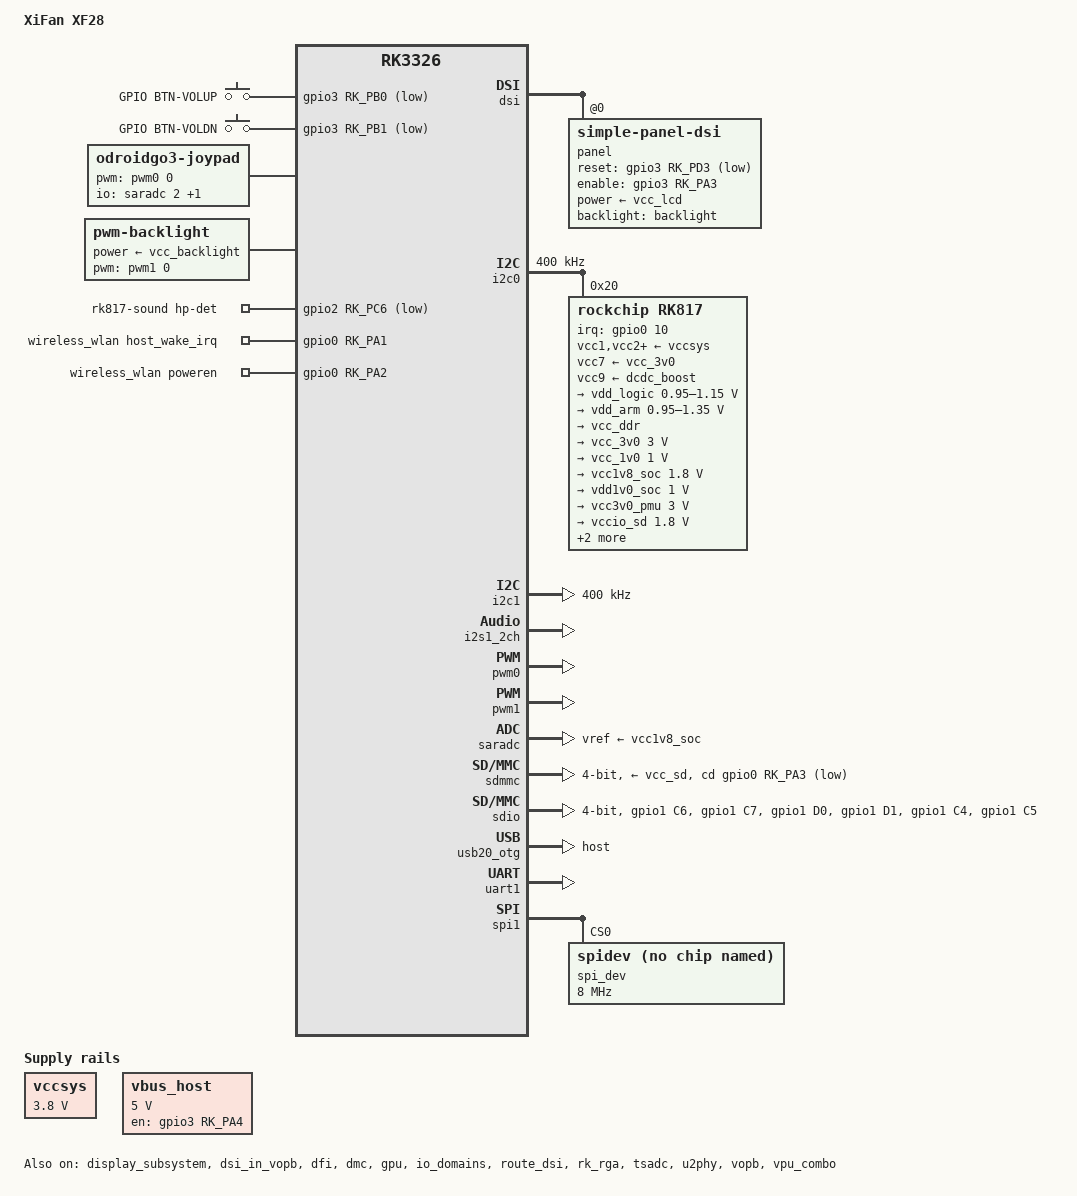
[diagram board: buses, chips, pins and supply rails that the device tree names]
// SPDX-License-Identifier: (GPL-2.0+ OR MIT)
/*
* Copyright (c) 2025 kk&lcdyk
*
* 稀范科技 XF28
*
*/

/dts-v1/;
#include <dt-bindings/display/drm_mipi_dsi.h>
#include <dt-bindings/gpio/gpio.h>
#include <dt-bindings/input/input.h>
#include <dt-bindings/pinctrl/rockchip.h>
#include <dt-bindings/sensor-dev.h>
#include "rk3326.dtsi"
#include "rk3326-linux.dtsi"

/ {
	model = "XiFan XF28";
	compatible = "rockchip,rk3326-xf28-linux", "rockchip,rk3326";
	
	chosen {
		bootargs = "";
	};
	
	gpio_keys: odroidgo3-keys {
		compatible = "gpio-keys";
		autorepeat;
		
		button_vol_up: button-vol-up {
			gpios = <&gpio3 RK_PB0 GPIO_ACTIVE_LOW>;
			label = "GPIO BTN-VOLUP";
			linux,code = <KEY_VOLUMEUP>;
		};
		
		button_vol_down: button-vol-down {
			gpios = <&gpio3 RK_PB1 GPIO_ACTIVE_LOW>;
			label = "GPIO BTN-VOLDN";
			linux,code = <KEY_VOLUMEDOWN>;
		};
	};
	
	joypad: odroidgo3-joypad {
		compatible = "odroidgo3-joypad";
		pwms = <&pwm0 0 200000000 0>;
		pwm-names = "enable";
		rumble-boost-weak = <0x0000>;
		rumble-boost-strong = <0x0000>;
		joypad-name = "GO-Super Gamepad";
		joypad-product = <0x1100>;
		joypad-revision = <0x0100>;
		go2-mode;
		status = "okay";
		/* gpio pincontrol setup */
		pinctrl-names = "default";
		pinctrl-0 = <&btn_pins>;
		pinctrl-1 = <&pwm0_pin>;
		/* JOY_X, JOY_Y Channel define */
		io-channel-names = "joy_y", "joy_x";
		io-channels = <&saradc 2>,<&saradc 1>;
		/* adc channel count */
		button-adc-count = <2>;
		/* adc calculate scale */
		button-adc-scale = <2>;
		
		/* adc deadzone range  */
		button-adc-deadzone = <20>;
		
		/*
		specifies fuzz value that is used to filter noise from
		the event stream.
		*/
		button-adc-fuzz = <32>;
		button-adc-flat = <32>;
		
		/* poll device interval (ms), adc read interval */
		poll-interval = <10>;
		invert-absx;
		invert-absy;
		sw1 {
			gpios = <&gpio3 RK_PC6 GPIO_ACTIVE_LOW>;
			label = "GPIO DPAD-UP";
			linux,code = <BTN_DPAD_UP>;
		};
		sw2 {
			gpios = <&gpio3 RK_PC7 GPIO_ACTIVE_LOW>;
			label = "GPIO DPAD-DOWN";
			linux,code = <BTN_DPAD_DOWN>;
		};
		sw3 {
			gpios = <&gpio3 RK_PC4 GPIO_ACTIVE_LOW>;
			label = "GPIO DPAD-LEFT";
			linux,code = <BTN_DPAD_LEFT>;
		};
		sw4 {
			gpios = <&gpio3 RK_PC5 GPIO_ACTIVE_LOW>;
			label = "GPIO DPAD-RIGHT";
			linux,code = <BTN_DPAD_RIGHT>;
		};
		sw5 {
			gpios = <&gpio3 RK_PC0 GPIO_ACTIVE_LOW>;
			label = "GPIO BTN-A";
			linux,code = <BTN_EAST>;
		};
		sw6 {
			gpios = <&gpio3 RK_PC1 GPIO_ACTIVE_LOW>;
			label = "GPIO BTN-B";
			linux,code = <BTN_SOUTH>;
		};
		sw7 {
			gpios = <&gpio3 RK_PC3 GPIO_ACTIVE_LOW>;
			label = "GPIO BTN-Y";
			linux,code = <BTN_WEST>;
		};
		sw8 {
			gpios = <&gpio3 RK_PC2 GPIO_ACTIVE_LOW>;
			label = "GPIO BTN-X";
			linux,code = <BTN_NORTH>;
		};
		sw11 {
			gpios = <&gpio2 RK_PB6 GPIO_ACTIVE_LOW>;//占位用
			label = "BTN_THUMBR";
			linux,code = <BTN_TRIGGER_HAPPY4>;
		};
		sw12 {
			gpios = <&gpio2 RK_PB5 GPIO_ACTIVE_LOW>;
			label = "BTN_THUMBL";
			linux,code = <BTN_TRIGGER_HAPPY3>;
		};
		sw13 {
			gpios = <&gpio3 RK_PD2 GPIO_ACTIVE_LOW>;
			label = "GPIO BTN_F";
			linux,code = <BTN_TRIGGER_HAPPY5>;
		};
		sw15 {
			gpios = <&gpio3 RK_PB5 GPIO_ACTIVE_LOW>;
			label = "GPIO BTN_TL";
			linux,code = <BTN_TL>;
		};
		sw16 {
			gpios = <&gpio3 RK_PB3 GPIO_ACTIVE_LOW>;
			label = "GPIO BTN_TR";
			linux,code = <BTN_TR>;
		};
		sw19 {
			gpios = <&gpio3 RK_PD0 GPIO_ACTIVE_LOW>;
			label = "BTN_SELECT";
			linux,code = <BTN_TRIGGER_HAPPY1>;
		};
		sw20 {
			gpios = <&gpio3 RK_PA0 GPIO_ACTIVE_LOW>;
			label = "GPIO BTN_TR2";
			linux,code = <BTN_TR2>;
		};
		sw21 {
			gpios = <&gpio3 RK_PA6 GPIO_ACTIVE_LOW>;
			label = "GPIO BTN_TL2";
			linux,code = <BTN_TL2>;
		};
		sw22 {
			gpios = <&gpio3 RK_PD1 GPIO_ACTIVE_LOW>;
			label = "BTN_START";
			linux,code = <BTN_TRIGGER_HAPPY2>;
		};
	};
	
	fiq-debugger {
		compatible = "rockchip,fiq-debugger";
		rockchip,serial-id = <5>;
		rockchip,wake-irq = <0>;
		/* If enable uart uses irq instead of fiq */
		rockchip,irq-mode-enable = <1>;
		rockchip,baudrate = <1500000>;  /* Only 115200 and 1500000 */
		interrupts = <GIC_SPI 127 IRQ_TYPE_LEVEL_LOW>;
		pinctrl-names = "default";
		pinctrl-0 = <&uart5_xfer>;
		status = "okay";
	};
	
	backlight: backlight {
		compatible = "pwm-backlight";
		power-supply = <&vcc_backlight>;
		pwms = <&pwm1 0 25000 0>;
		brightness-levels = <
		0   1   2   3   4   5   6   7
		8   9  10  11  12  13  14  15
		16  17  18  19  20  21  22  23
		24  25  26  27  28  29  30  31
		32  33  34  35  36  37  38  39
		40  41  42  43  44  45  46  47
		48  49  50  51  52  53  54  55
		56  57  58  59  60  61  62  63
		64  65  66  67  68  69  70  71
		72  73  74  75  76  77  78  79
		80  81  82  83  84  85  86  87
		88  89  90  91  92  93  94  95
		96  97  98  99 100 101 102 103
		104 105 106 107 108 109 110 111
		112 113 114 115 116 117 118 119
		120 121 122 123 124 125 126 127
		128 129 130 131 132 133 134 135
		136 137 138 139 140 141 142 143
		144 145 146 147 148 149 150 151
		152 153 154 155 156 157 158 159
		160 161 162 163 164 165 166 167
		168 169 170 171 172 173 174 175
		176 177 178 179 180 181 182 183
		184 185 186 187 188 189 190 191
		192 193 194 195 196 197 198 199
		200 201 202 203 204 205 206 207
		208 209 210 211 212 213 214 215
		216 217 218 219 220 221 222 223
		224 225 226 227 228 229 230 231
		232 233 234 235 236 237 238 239
		240 241 242 243 244 245 246 247
		248 249 250 251 252 253 254 255>;
		default-brightness-level = <200>;
	};
	
	// leds: gpio_leds {
	//     compatible = "gpio-leds";
	//     pinctrl-names = "led_pins";
	//     pinctrl-0 = <&led_pins>;
	
	//     /* 充电蓝灯：GPIO0_A0 (GPIO0_0) */
	//     blue_charge: blue-charge {
	//         label = "blue:charge";
	//         gpios = <&gpio0 RK_PA0 GPIO_ACTIVE_HIGH>;
	//         default-state = "off";
	//     };
	
	//     /* 充电红灯：GPIO0_C1 (GPIO0_17) */
	//     red_charge: red-charge {
	//         label = "red:charge";
	//         gpios = <&gpio0 RK_PC1 GPIO_ACTIVE_HIGH>;
	//         default-state = "off";
	//     };
	// };
	
	rk817-sound {
		compatible = "simple-audio-card";
		simple-audio-card,format = "i2s";
		simple-audio-card,name = "rockchip,rk817-codec";
		simple-audio-card,mclk-fs = <256>;
		simple-audio-card,widgets =
		"Microphone", "Mic Jack",
		"Headphone", "Headphone Jack";
		simple-audio-card,routing =
		"MIC_IN", "Mic Jack",
		/*"IN1P", "Mic Jack",*/
		"Headphone Jack", "HPOL",
		"Headphone Jack", "HPOR";
		simple-audio-card,hp-det-gpio = <&gpio2 RK_PC6 GPIO_ACTIVE_LOW>;
		pinctrl-names = "default";
		pinctrl-0 = <&hp_det>;
		simple-audio-card,cpu {
			sound-dai = <&i2s1_2ch>;
		};
		simple-audio-card,codec {
			sound-dai = <&rk817_codec>;
		};
	};
	
	vccsys: vccsys {
		compatible = "regulator-fixed";
		regulator-name = "vcc3v8_sys";
		regulator-always-on;
		// regulator-boot-on;
		regulator-min-microvolt = <3800000>;
		regulator-max-microvolt = <3800000>;
	};
	
	wireless_wlan: wireless-wlan {
		compatible = "wlan-platdata";
		wifi_chip_type = "rk915";
		WIFI,host_wake_irq = <&gpio0 RK_PA1 GPIO_ACTIVE_HIGH>;
		WIFI,poweren_gpio = <&gpio0 RK_PA2 GPIO_ACTIVE_HIGH>;
		status = "okay";
	};
	
	vbus_host: vbus_host {
		compatible = "regulator-fixed";
		regulator-name = "vbus_host";
		regulator-min-microvolt = <5000000>;
		regulator-max-microvolt = <5000000>;
		gpio = <&gpio3 RK_PA4 GPIO_ACTIVE_HIGH>;
		pinctrl-0 = <&vcc5_usb>;
		pinctrl-names = "default";
		enable-active-high;
		regulator-always-on;
		// regulator-boot-on;
		// vin-supply = <&dcdc_boost>;
	};
};

&bus_apll {
	bus-supply = <&vdd_logic>;
	status = "okay";
};

&cpu0 {
	cpu-supply = <&vdd_arm>;
};

&cpu0_opp_table {
	rockchip,avs = <1>;
	
	/* bin scaling clock 1.296MHz */
	rockchip,bin-scaling-sel = <
	0               13
	1               13
	>;
	
	/delete-node/ opp-408000000;
	/delete-node/ opp-600000000;
	/delete-node/ opp-816000000;
};

&display_subsystem {
	status = "okay";
};

&dsi {
	status = "okay";
	
	panel@0 {
		compatible = "simple-panel-dsi";
		reg = <0>;
		/* pwm1 backlight */
		backlight = <&backlight>;
		/* RK817 LDO7 */
		// backlight-supply = <&vcc_backlight>;
		/* RK817 LDO8 */
		power-supply = <&vcc_lcd>;
		/* LCD reset gpio GPIO3.B7 */
		reset-gpios = <&gpio3 RK_PD3 GPIO_ACTIVE_LOW>;
		/* power-supply-gpio GPIO0.B5  */
		enable-gpios = <&gpio3 RK_PA3 GPIO_ACTIVE_HIGH>;
		prepare-delay-ms = <20>;
		reset-delay-ms = <20>;
		init-delay-ms = <20>;
		enable-delay-ms = <120>;
		disable-delay-ms = <20>;
		unprepare-delay-ms = <20>;
		width-mm = <153>;
		height-mm = <85>;
		dsi,flags  = <(MIPI_DSI_MODE_VIDEO |
		MIPI_DSI_MODE_VIDEO_BURST |
		MIPI_DSI_MODE_LPM |
		MIPI_DSI_MODE_EOT_PACKET)>;
		dsi,format = <MIPI_DSI_FMT_RGB888>;
		dsi,lanes = <2>;
		panel-init-sequence = [15 00 02 ff 30 15 00 02 ff 49 15 00 02 ff 01 15 00 02 e2 00 15 00 02 11 10 15 00 02 14 10 15 00 02 3b 00 15 00 02 41 32 15 00 02 45 02 15 00 02 46 7f 15 00 02 51 3c 15 00 02 52 01 15 00 02 53 22 15 00 02 54 80 15 00 02 55 80 15 00 02 56 10 15 00 02 57 37 15 00 02 59 00 15 00 02 5a 00 15 00 02 5b 82 15 00 02 5c 60 15 00 02 79 fe 15 00 02 7d 08 15 00 02 90 02 15 00 02 91 00 15 00 02 94 0e 15 00 02 96 06 15 00 02 c8 67 15 00 02 ca b2 15 00 02 cc 5e 15 00 02 ce 03 15 00 02 a1 24 15 00 02 b5 26 15 00 02 a2 20 15 00 02 b6 24 15 00 02 a5 11 15 00 02 b9 15 15 00 02 a6 0f 15 00 02 ba 0b 15 00 02 a3 40 15 00 02 b7 40 15 00 02 a4 44 15 00 02 b8 44 15 00 02 a8 0e 15 00 02 bc 0f 15 00 02 a9 14 15 00 02 bd 10 15 00 02 aa 14 15 00 02 be 10 15 00 02 ab 12 15 00 02 bf 12 15 00 02 ac 12 15 00 02 c0 10 15 00 02 ad 14 15 00 02 c1 10 15 00 02 ae 12 15 00 02 c2 0e 15 00 02 af 10 15 00 02 c3 0e 15 00 02 b0 11 15 00 02 c4 0d 15 00 02 b1 0b 15 00 02 c5 05 15 00 02 a0 39 15 00 02 b4 39 15 00 02 a7 0a 15 00 02 bb 0a 15 00 02 ff 30 15 00 02 ff 49 15 00 02 ff 02 15 00 02 50 22 15 00 02 51 7f 15 00 02 52 7f 15 00 02 67 15 15 00 02 68 df 15 00 02 69 9f 15 00 02 ff 30 15 00 02 ff 49 15 00 02 ff 03 15 00 02 00 22 15 00 02 01 80 15 00 02 02 82 15 00 02 0f 22 15 00 02 10 81 15 00 02 11 83 15 00 02 27 88 15 00 02 28 05 15 00 02 29 03 15 00 02 36 88 15 00 02 37 04 15 00 02 38 02 15 00 02 7b 30 15 00 02 80 83 15 00 02 81 32 15 00 02 82 79 15 00 02 83 05 15 00 02 84 90 15 00 02 85 90 15 00 02 88 82 15 00 02 89 32 15 00 02 8a 7a 15 00 02 8b 11 15 00 02 8c 90 15 00 02 8d 90 15 00 02 8e 81 15 00 02 8f 32 15 00 02 90 7b 15 00 02 91 11 15 00 02 92 90 15 00 02 93 90 15 00 02 94 80 15 00 02 95 32 15 00 02 96 7c 15 00 02 97 11 15 00 02 98 90 15 00 02 99 90 15 00 02 9a 01 15 00 02 9b 32 15 00 02 9c 7d 15 00 02 9d 05 15 00 02 9e 90 15 00 02 9f 90 15 00 02 a2 02 15 00 02 a3 32 15 00 02 a4 7e 15 00 02 a5 11 15 00 02 a6 90 15 00 02 a7 90 15 00 02 a8 03 15 00 02 a9 32 15 00 02 aa 7f 15 00 02 ab 11 15 00 02 ac 90 15 00 02 ad 90 15 00 02 ae 04 15 00 02 af 32 15 00 02 b0 80 15 00 02 b1 11 15 00 02 b2 90 15 00 02 b3 90 15 00 02 f7 40 15 00 02 f8 40 15 00 02 d0 1f 15 00 02 d1 1f 15 00 02 d2 05 15 00 02 d3 0b 15 00 02 d4 0d 15 00 02 d5 0f 15 00 02 d6 11 15 00 02 d7 1f 15 00 02 d8 1b 15 00 02 d9 1a 15 00 02 da 01 15 00 02 db 1f 15 00 02 dc 1f 15 00 02 dd 1f 15 00 02 de 1f 15 00 02 df 1f 15 00 02 e0 1f 15 00 02 e1 1f 15 00 02 e2 1f 15 00 02 e3 1f 15 00 02 e4 1f 15 00 02 e5 00 15 00 02 e6 1a 15 00 02 e7 1b 15 00 02 e8 1f 15 00 02 e9 10 15 00 02 ea 0e 15 00 02 eb 0c 15 00 02 ec 0a 15 00 02 ed 04 15 00 02 ee 1f 15 00 02 ef 1f 15 00 02 ff 30 15 00 02 ff 49 15 00 02 ff 00 15 00 02 35 00 05 78 01 11 05 14 01 29];
		panel-exit-sequence = <0x5000128 0x5000110>;
		
		display-timings {
			native-mode = <&timing1>;
			
			timing0: adjust {
				clock-frequency = <23000000>;
				hactive = <480>;
				vactive = <640>;
				hfront-porch = <44>;
				hsync-len    = <2>;
				hback-porch  = <44>;
				vfront-porch = <16>;
				vsync-len    = <2>;
				vback-porch  = <14>;
				hsync-active = <0>;
				vsync-active = <0>;
				de-active = <0>;
				pixelclk-active = <0>;
			};
			timing1: origin {
				clock-frequency = <23000000>;
				hactive = <480>;
				vactive = <640>;
				hfront-porch = <46>;
				hsync-len    = <2>;
				hback-porch  = <44>;
				vfront-porch = <16>;
				vsync-len    = <2>;
				vback-porch  = <14>;
				hsync-active = <0>;
				vsync-active = <0>;
				de-active = <0>;
				pixelclk-active = <0>;
			};
		};
	};
};

&dsi_in_vopb {
	status = "okay";
};

&dfi {
	status = "okay";
};

&dmc {
	center-supply = <&vdd_logic>;
	status = "okay";
};

&dmc_opp_table {
	/delete-node/ opp-194000000;
	/delete-node/ opp-328000000;
	/delete-node/ opp-450000000;
};

&gpu {
	mali-supply = <&vdd_logic>;
	status = "okay";
};

&gpu_opp_table {
	/delete-node/ opp-200000000;
	/delete-node/ opp-300000000;
};

&i2c0 {
	status = "okay";
	clock-frequency = <400000>;
	i2c-scl-rising-time-ns = <280>;
	i2c-scl-falling-time-ns = <16>;
	
	rk817: pmic@20 {
		compatible = "rockchip,rk817";
		reg = <0x20>;
		interrupt-parent = <&gpio0>;
		interrupts = <10 IRQ_TYPE_LEVEL_LOW>;
		pinctrl-names = "default", "pmic-sleep",
		"pmic-power-off", "pmic-reset";
		pinctrl-0 = <&pmic_int>;
		pinctrl-1 = <&soc_slppin_slp>, <&rk817_slppin_slp>;
		pinctrl-2 = <&soc_slppin_gpio>, <&rk817_slppin_pwrdn>;
		pinctrl-3 = <&soc_slppin_rst>, <&rk817_slppin_rst>;
		rockchip,system-power-controller;
		wakeup-source;
		#clock-cells = <1>;
		clock-output-names = "rk808-clkout1", "rk808-clkout2";
		//fb-inner-reg-idxs = <2>;
		
		/* 1: rst regs (default in codes), 0: rst the pmic */
		pmic-reset-func = <1>;
		
		vcc1-supply = <&vccsys>;
		vcc2-supply = <&vccsys>;
		vcc3-supply = <&vccsys>;
		vcc4-supply = <&vccsys>;
		vcc5-supply = <&vccsys>;
		vcc6-supply = <&vccsys>;
		vcc7-supply = <&vcc_3v0>;
		vcc8-supply = <&vccsys>;
		vcc9-supply = <&dcdc_boost>;
		
		pwrkey {
			status = "okay";
		};
		
		pinctrl_rk8xx: pinctrl_rk8xx {
			gpio-controller;
			#gpio-cells = <2>;
			
			rk817_ts_gpio1: rk817_ts_gpio1 {
				pins = "gpio_ts";
				function = "pin_fun1";
				/* output-low; */
				/* input-enable; */
			};
			
			rk817_gt_gpio2: rk817_gt_gpio2 {
				pins = "gpio_gt";
				function = "pin_fun1";
			};
			
			rk817_pin_ts: rk817_pin_ts {
				pins = "gpio_ts";
				function = "pin_fun0";
			};
			
			rk817_pin_gt: rk817_pin_gt {
				pins = "gpio_gt";
				function = "pin_fun0";
			};
			
			rk817_slppin_null: rk817_slppin_null {
				pins = "gpio_slp";
				function = "pin_fun0";
			};
			
			rk817_slppin_slp: rk817_slppin_slp {
				pins = "gpio_slp";
				function = "pin_fun1";
			};
			
			rk817_slppin_pwrdn: rk817_slppin_pwrdn {
				pins = "gpio_slp";
				function = "pin_fun2";
			};
			
			rk817_slppin_rst: rk817_slppin_rst {
				pins = "gpio_slp";
				function = "pin_fun3";
			};
		};
		
		regulators {
			vdd_logic: DCDC_REG1 {
				regulator-always-on;
				regulator-boot-on;
				regulator-min-microvolt = <950000>;
				regulator-max-microvolt = <1150000>;
				regulator-ramp-delay = <6001>;
				regulator-initial-mode = <0x2>;
				regulator-name = "vdd_logic";
				regulator-state-mem {
					regulator-on-in-suspend;
					regulator-suspend-microvolt = <950000>;
				};
			};
			
			vdd_arm: DCDC_REG2 {
				regulator-always-on;
				regulator-boot-on;
				regulator-min-microvolt = <950000>;
				regulator-max-microvolt = <1350000>;
				regulator-ramp-delay = <6001>;
				regulator-initial-mode = <0x2>;
				regulator-name = "vdd_arm";
				regulator-state-mem {
					regulator-off-in-suspend;
					regulator-suspend-microvolt = <950000>;
				};
			};
			
			vcc_ddr: DCDC_REG3 {
				regulator-always-on;
				regulator-boot-on;
				regulator-initial-mode = <0x2>;
				regulator-name = "vcc_ddr";
				regulator-state-mem {
					regulator-on-in-suspend;
				};
			};
			
			vcc_3v0: DCDC_REG4 {
				regulator-always-on;
				regulator-boot-on;
				regulator-min-microvolt = <3000000>;
				regulator-max-microvolt = <3000000>;
				regulator-initial-mode = <0x2>;
				regulator-name = "vcc_3v0";
				regulator-state-mem {
					regulator-off-in-suspend;
					regulator-suspend-microvolt = <3000000>;
				};
			};
			
			/* Not Used */
			vcc_1v0: LDO_REG1 {
				regulator-always-on;
				regulator-boot-on;
				regulator-min-microvolt = <1000000>;
				regulator-max-microvolt = <1000000>;
				regulator-name = "vcc_1v0";
				regulator-state-mem {
					regulator-on-in-suspend;
					regulator-suspend-microvolt = <1000000>;
				};
			};
			
			vcc1v8_soc: LDO_REG2 {
				regulator-always-on;
				regulator-boot-on;
				regulator-min-microvolt = <1800000>;
				regulator-max-microvolt = <1800000>;
				
				regulator-name = "vcc1v8_soc";
				regulator-state-mem {
					regulator-on-in-suspend;
					regulator-suspend-microvolt = <1800000>;
				};
			};
			
			vdd1v0_soc: LDO_REG3 {
				regulator-always-on;
				regulator-boot-on;
				regulator-min-microvolt = <1000000>;
				regulator-max-microvolt = <1000000>;
				
				regulator-name = "vcc1v0_soc";
				regulator-state-mem {
					regulator-on-in-suspend;
					regulator-suspend-microvolt = <1000000>;
				};
			};
			
			vcc3v0_pmu: LDO_REG4 {
				regulator-always-on;
				regulator-boot-on;
				regulator-min-microvolt = <3000000>;
				regulator-max-microvolt = <3000000>;
				
				regulator-name = "vcc3v0_pmu";
				regulator-state-mem {
					regulator-on-in-suspend;
					regulator-suspend-microvolt = <3000000>;
				};
			};
			
			vccio_sd: LDO_REG5 {
				regulator-always-on;
				regulator-boot-on;
				regulator-min-microvolt = <1800000>;
				regulator-max-microvolt = <1800000>;
				
				regulator-name = "vccio_sd";
				regulator-state-mem {
					regulator-on-in-suspend;
					regulator-suspend-microvolt = <1800000>;
				};
			};
			
			vcc_sd: LDO_REG6 {
				regulator-min-microvolt = <1800000>;
				regulator-max-microvolt = <3000000>;
				regulator-always-on;
				regulator-boot-on;
				
				regulator-name = "vcc_sd";
				regulator-state-mem {
					regulator-on-in-suspend;
					regulator-suspend-microvolt = <3000000>;
				};
			};
			
			/* Rev 0.2 LCD Backlight Power */
			vcc_backlight: LDO_REG7 {
				regulator-always-on;
				regulator-boot-on;
				regulator-min-microvolt = <1800000>;
				regulator-max-microvolt = <3300000>;
				regulator-name = "vcc_backlight";
				regulator-state-mem {
					regulator-on-in-suspend;
					regulator-suspend-microvolt = <3300000>;
				};
			};
			
			/* Rev 0.2 LCD IO Power */
			vcc_lcd: LDO_REG8 {
				regulator-always-on;
				regulator-boot-on;
				regulator-min-microvolt = <3300000>;
				regulator-max-microvolt = <3300000>;
				
				regulator-name = "vcc3v0_dvp";
				regulator-state-mem {
					regulator-on-in-suspend;
					regulator-suspend-microvolt = <3300000>;
				};
			};
			
			vdd1v5_dvp: LDO_REG9 {
				regulator-always-on;
				regulator-boot-on;
				regulator-min-microvolt = <1500000>;
				regulator-max-microvolt = <1500000>;
				
				regulator-name = "vdd1v5_dvp";
				regulator-state-mem {
					regulator-off-in-suspend;
					regulator-suspend-microvolt = <1500000>;
				};
			};
			
			dcdc_boost: BOOST {
				regulator-always-on;
				regulator-boot-on;
				regulator-min-microvolt = <5000000>;
				regulator-max-microvolt = <5400000>;
				regulator-name = "boost";
			};
		};
		
		battery {
			compatible = "rk817,battery";
			ocv_table = <
			3300 3340 3380 3420 3460 3500 3540
			3570 3610 3650 3690 3720 3750 3790
			3830 3870 3910 3940 3967 4001 4046
			>;
			design_capacity = <3380>;
			design_qmax = <3718>;
			bat_res = <100>;
			sleep_enter_current = <300>;
			sleep_exit_current = <300>;
			sleep_filter_current = <100>;
			power_off_thresd = <3000>;
			zero_algorithm_vol = <3850>;
			max_soc_offset = <60>;
			monitor_sec = <5>;
			sample_res = <10>;
			virtual_power = <0>;
			power_dc2otg = <0>;
			bat-low-threshold = <30>;
			bat_low_gpio = <&gpio0 RK_PC1 GPIO_ACTIVE_HIGH>;
		};
		
		charger {
			compatible = "rk817,charger";
			min_input_voltage = <4500>;
			max_input_current = <1500>;
			max_chrg_current = <2000>;
			max_chrg_voltage = <4200>;
			chrg_term_mode = <0>;
			chrg_finish_cur = <52>;
			virtual_power = <0>;
			sample_res = <10>;
			dc_det_gpio  = <&gpio3 RK_PA5 GPIO_ACTIVE_HIGH>;
			
			extcon = <&u2phy>;
		};
		
		rk817_codec: codec {
			#sound-dai-cells = <0>;
			compatible = "rockchip,rk817-codec";
			clocks = <&cru SCLK_I2S1_OUT>;
			clock-names = "mclk";
			pinctrl-names = "default";
			pinctrl-0 = <&i2s1_2ch_mclk>;
			spk-ctl-gpios = <&gpio3 RK_PA7 GPIO_ACTIVE_HIGH>;
			spk-mute-delay-ms = <50>;
			use-ext-amplifier;
			hp-volume = <20>;
			spk-volume = <3>;
			status = "okay";
		};
	};
};

/* EXT Header(P2) : 7(SCL:GPIO0.C2), 8(SDA:GPIO0.C3) */
&i2c1 {
	status = "okay";
	clock-frequency = <400000>;
};

/* MIPI CSI I2C */
&i2c2 {
	status = "disabled";
};

/* I2S 1 Channel Used */
&i2s1_2ch {
	status = "okay";
	#sound-dai-cells = <0>;
};

&io_domains {
	/* GRF Register Voltage select control */
	status = "okay";
	/* SDIO I/O Voltage */
	vccio1-supply = <&vcc_backlight>;
	/* SDMMC I/O Voltage */
	vccio2-supply = <&vccio_sd>;
	/* CAM I/O Voltage */
	vccio3-supply = <&vcc1v8_soc>;
	/* LVDS/LCDC I/O Voltage */
	vccio4-supply = <&vcc_3v0>;
	/* I2S I/O Voltage */
	vccio5-supply = <&vcc_3v0>;
	/* eMMC I/O Voltage */
	vccio6-supply = <&vcc1v8_soc>;
};

&isp_mmu {
	status = "okay";
};

&mipi_dphy_rx0 {
	status = "disabled";
};

&pmu_io_domains {
	/* PMU GRF Register Voltage select control */
	status = "okay";
	
	/* PMU I/O Voltage */
	pmuio1-supply = <&vcc3v0_pmu>;
	/* GPIO0_B/GPIO0_C, Flash */
	pmuio2-supply = <&vcc3v0_pmu>;
};

/* RG351MP Motor PWM */
&pwm0 {
	status = "okay";
};

/* LCD Backlight PWM */
&pwm1 {
	status = "okay";
};

&route_dsi {
	connect = <&vopb_out_dsi>;
	status = "okay";
};

&rkisp1 {
	status = "disabled";
};

&rk_rga {
	status = "okay";
};

&rockchip_suspend {
	status = "okay";
	rockchip,sleep-debug-en = <1>;
};

&sfc {
	status = "disabled";
};

&spi0 {
	status = "disabled";
};

&saradc {
	status = "okay";
	vref-supply = <&vcc1v8_soc>;
};

&sdmmc {
	bus-width = <4>;
	cap-mmc-highspeed;
	cap-sd-highspeed;
	supports-sd;
	max-frequency = <100000000>;
	card-detect-delay = <800>;
	ignore-pm-notify;
	cd-gpios = <&gpio0 RK_PA3 GPIO_ACTIVE_LOW>;
	sd-uhs-sdr12;
	sd-uhs-sdr25;
	sd-uhs-sdr50;
	sd-uhs-sdr104;
	vqmmc-supply = <&vccio_sd>;
	vmmc-supply = <&vcc_sd>;
	status = "okay";
};

&sdio {
	bus-width = <4>;
	cap-sd-highspeed;
	supports-rk912;
	supports-sdio;
	pinctrl-0 = <&sdio_bus4 &sdio_cmd &sdio_clk>;
	no-sd;
	no-mmc;
	ignore-pm-notify;
	keep-power-in-suspend;
	status = "okay";
	pinctrl-names = "default";
};

&tsadc {
	pinctrl-names = "gpio", "otpout";
	pinctrl-0 = <&tsadc_otp_gpio>;
	pinctrl-1 = <&tsadc_otp_out>;
	pinctrl-2 = <&tsadc_otp_gpio>;
	status = "okay";
};

&u2phy {
	status = "okay";
	
	u2phy_host: host-port {
		status = "okay";
	};
	
	u2phy_otg: otg-port {
		vbus-supply = <&vbus_host>;
		status = "okay";
	};
};

&usb20_otg {
	dr_mode = "host";
	status = "okay";
};

&uart1 {
	pinctrl-names = "default";
	pinctrl-0 = <&uart1_xfer &uart1_cts>;
	status = "okay";
};

&uart0 {
	status = "disabled";
};

&uart2 {
	status = "disabled";
};

&spi1 {
	status = "okay";
	spi_dev@0 {
		compatible = "rohm,dh2228fv";
		reg = <0>;
		spi-max-frequency = <8000000>;
		status = "okay";
	};
};

&uart3 {
	status = "disabled";
};

&uart4 {
	status = "disabled";
};

&uart5 {
	clock-frequency = <115200>;
	status = "disabled";
};

&vip_mmu {
	status = "disabled";
};

&vopb {
	status = "okay";
};

&vopb_mmu {
	status = "okay";
};

&vpu_combo {
	status = "okay";
};

&pinctrl {
	pmic {
		pmic_int: pmic_int {
			rockchip,pins =
			<0 RK_PB2 RK_FUNC_GPIO &pcfg_pull_up>;
		};
		
		soc_slppin_gpio: soc_slppin_gpio {
			rockchip,pins =
			<0 RK_PA4 RK_FUNC_GPIO &pcfg_output_low>;
		};
		
		soc_slppin_slp: soc_slppin_slp {
			rockchip,pins =
			<0 RK_PA4 RK_FUNC_1 &pcfg_pull_none>;
		};
		
		soc_slppin_rst: soc_slppin_rst {
			rockchip,pins =
			<0 RK_PA4 RK_FUNC_2 &pcfg_pull_none>;
		};
	};
	
	sdio {
		
		sdio_clk: sdio-clk {
			rockchip,pins = <1 RK_PC5 RK_FUNC_1 &pcfg_pull_none>;
		};
		
		sdio_cmd: sdio-cmd {
			rockchip,pins = <1 RK_PC4 RK_FUNC_1 &pcfg_pull_up>;
		};
		
		sdio_bus4: sdio-bus4 {
			rockchip,pins =
			<1 RK_PC6 RK_FUNC_1 &pcfg_pull_up>,
			<1 RK_PC7 RK_FUNC_1 &pcfg_pull_up>,
			<1 RK_PD0 RK_FUNC_1 &pcfg_pull_up>,
			<1 RK_PD1 RK_FUNC_1 &pcfg_pull_up>;
		};
	};
	
	vcc5-usb {
		vcc5_usb: vcc5-usb {
			rockchip,pins = <3 RK_PA4 RK_FUNC_GPIO &pcfg_pull_up>;
		};
	};
	
	sdio-pwrseq {
		wifi_enable_h: wifi-enable-h {
			rockchip,pins = <0 RK_PA2 RK_FUNC_GPIO &pcfg_output_high>;
		};

		wifi_host_wake_l: wifi-host-wake-l {
			rockchip,pins = <0 RK_PA1 RK_FUNC_GPIO &pcfg_pull_down>;
		};
	};
	
	btns {
		btn_pins: btn-pins {
			rockchip,pins =
			<3 RK_PC6 RK_FUNC_GPIO &pcfg_pull_up>,
			<3 RK_PC7 RK_FUNC_GPIO &pcfg_pull_up>,
			<3 RK_PC4 RK_FUNC_GPIO &pcfg_pull_up>,
			<3 RK_PC5 RK_FUNC_GPIO &pcfg_pull_up>,
			<3 RK_PC0 RK_FUNC_GPIO &pcfg_pull_up>,
			<3 RK_PC1 RK_FUNC_GPIO &pcfg_pull_up>,
			<3 RK_PC3 RK_FUNC_GPIO &pcfg_pull_up>,
			<3 RK_PC2 RK_FUNC_GPIO &pcfg_pull_up>,
			<2 RK_PB6 RK_FUNC_GPIO &pcfg_pull_up>,
			<2 RK_PB5 RK_FUNC_GPIO &pcfg_pull_up>,
			<3 RK_PD2 RK_FUNC_GPIO &pcfg_pull_up>,
			<3 RK_PB5 RK_FUNC_GPIO &pcfg_pull_up>,
			<3 RK_PB3 RK_FUNC_GPIO &pcfg_pull_up>,
			<3 RK_PD0 RK_FUNC_GPIO &pcfg_pull_up>,
			<3 RK_PA0 RK_FUNC_GPIO &pcfg_pull_up>,
			<3 RK_PA6 RK_FUNC_GPIO &pcfg_pull_up>,
			<3 RK_PD1 RK_FUNC_GPIO &pcfg_pull_up>;
		};
	};
	
	headphone {
		hp_det: hp-det {
			rockchip,pins = <2 RK_PC6 RK_FUNC_GPIO &pcfg_pull_up>;
		};
	};
};

/* DON'T PUT ANYTHING BELOW HERE.  PUT IT ABOVE PINCTRL */

